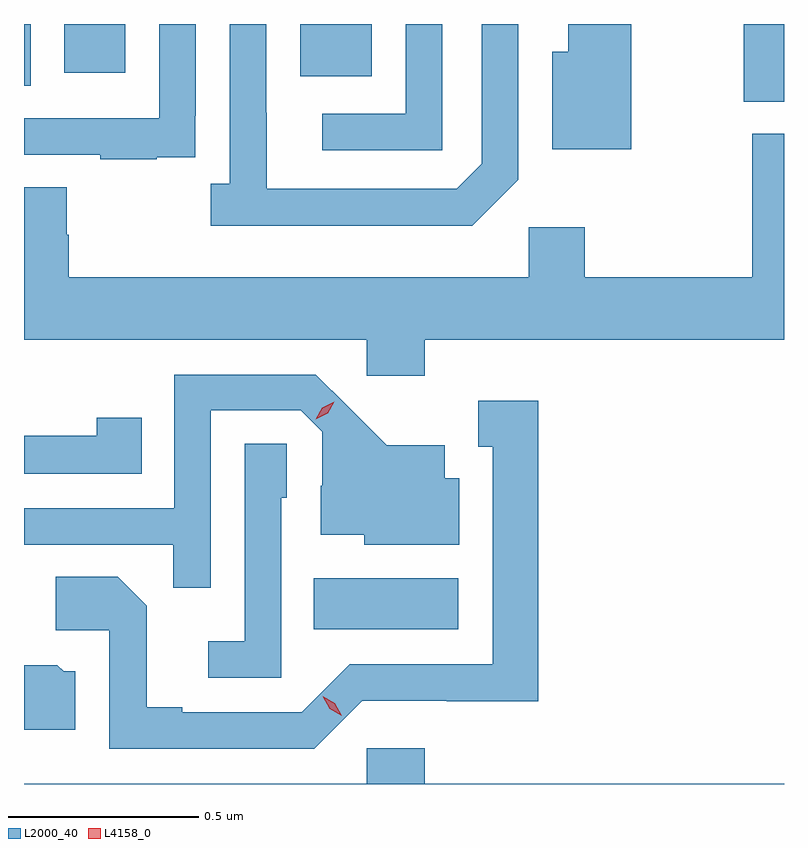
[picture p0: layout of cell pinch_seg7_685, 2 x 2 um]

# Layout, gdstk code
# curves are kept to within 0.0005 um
import gdstk
lib = gdstk.Library(unit=1e-6, precision=1e-09)
def R(c, l, rs):  # rectangles x0, y0, x1, y1
    for r in rs: c.add(gdstk.rectangle(r[:2], r[2:], *l))
def P(c, l, *ps):  # polygons
    for p in ps: c.add(gdstk.Polygon(p, *l))
L2000_40 = (2000, 40)
L4158_0 = (4158, 0)

pinch_seg7_685 = lib.new_cell('pinch_seg7_685')
R(pinch_seg7_685, L2000_40, [(126.268,1009.178,126.649,1009.312), (127.4,1010.567,127.506,1010.771), (125.506,1010.608,125.524,1010.771), (126.233,1010.633,126.421,1010.771), (125.612,1010.643,125.773,1010.771)])
P(pinch_seg7_685, L2000_40, [(125.855,1010.421),(125.957,1010.421),(125.957,1010.53),(125.958,1010.53),(125.958,1010.771),(125.862,1010.771),(125.862,1010.523),(125.506,1010.523),(125.506,1010.427),(125.707,1010.427),(125.707,1010.415),(125.855,1010.415)],
  [(126.807,1010.361),(126.807,1010.771),(126.711,1010.771),(126.711,1010.403),(126.645,1010.337),(126.145,1010.337),(126.145,1010.537),(126.144,1010.537),(126.144,1010.771),(126.048,1010.771),(126.048,1010.35),(125.997,1010.35),(125.997,1010.24),(126.686,1010.24)],
  [(126.606,1010.771),(126.51,1010.771),(126.51,1010.535),(126.291,1010.535),(126.291,1010.439),(126.606,1010.439)],
  [(127.104,1010.771),(126.938,1010.771),(126.938,1010.698),(126.896,1010.698),(126.896,1010.441),(127.104,1010.441)],
  [(126.56,1009.94),(127.506,1009.94),(127.506,1010.482),(127.423,1010.482),(127.423,1010.104),(126.981,1010.104),(126.981,1010.236),(126.834,1010.236),(126.834,1010.104),(125.624,1010.104),(125.624,1010.217),(125.619,1010.217),(125.619,1010.342),(125.506,1010.342),(125.506,1009.94),(126.408,1009.94),(126.408,1009.845),(126.56,1009.845)],
  [(125.997,1009.755),(126.234,1009.755),(126.291,1009.698),(126.291,1009.556),(126.287,1009.556),(126.287,1009.427),(126.402,1009.427),(126.402,1009.4),(126.652,1009.4),(126.652,1009.576),(126.613,1009.576),(126.613,1009.663),(126.461,1009.663),(126.274,1009.848),(125.901,1009.848),(125.901,1009.497),(125.506,1009.497),(125.506,1009.401),(125.899,1009.401),(125.899,1009.288),(125.997,1009.288)],
  [(126.396,1008.99),(126.618,1008.99),(126.618,1008.989),(126.859,1008.989),(126.859,1009.78),(126.701,1009.78),(126.701,1009.659),(126.74,1009.659),(126.74,1009.086),(126.363,1009.086),(126.237,1008.96),(125.923,1008.96),(125.923,1008.973),(125.829,1008.973),(125.829,1009.24),(125.753,1009.316),(125.589,1009.316),(125.589,1009.176),(125.73,1009.176),(125.73,1008.864),(126.27,1008.864)],
  [(125.816,1009.735),(125.698,1009.735),(125.698,1009.688),(125.506,1009.688),(125.506,1009.587),(125.816,1009.587)],
  [(126.183,1009.524),(126.198,1009.524),(126.198,1009.667),(126.087,1009.667),(126.087,1009.147),(125.991,1009.147),(125.991,1009.05),(126.183,1009.05)],
  [(125.641,1009.068),(125.61,1009.068),(125.594,1009.084),(125.506,1009.084),(125.506,1008.914),(125.641,1008.914)],
  [(127.506,1008.772),(126.56,1008.772),(126.56,1008.865),(126.408,1008.865),(126.408,1008.772),(125.506,1008.772),(125.506,1008.771),(127.506,1008.771)])
P(pinch_seg7_685, L4158_0, [(126.342,1008.95),(126.31,1008.969),(126.292,1009.002),(126.292,1009.002),(126.292,1009.002),(126.324,1008.983),(126.342,1008.951),(126.342,1008.95)],
  [(126.274,1009.731),(126.274,1009.731),(126.291,1009.761),(126.322,1009.777),(126.322,1009.777),(126.322,1009.777),(126.305,1009.747),(126.274,1009.731)])

lib.write_gds('pinch_seg7_685.gds')
